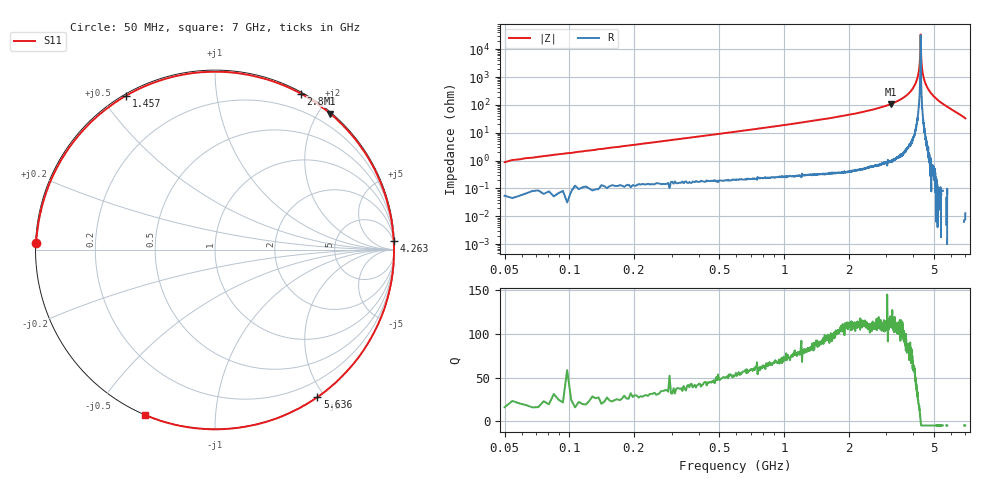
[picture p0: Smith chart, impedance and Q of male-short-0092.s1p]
! This is a Touchstone .s1p format file
! It should be saved with .s1p extension
! HEWLETT PACKARD,8720D,0,7.74
! Date = 21 Mar 2018
! Time = 01:14:02
! S11 measured = FALSE
! S21 measured = FALSE
! S12 measured = FALSE
! S22 measured = TRUE
! Start frequency = 0.050000000 GHz
! Centre frequency  = 3.524999936 GHz
! Stop frequency  = 7.000000000 GHz
! IF bandwidth = 300 Hz
! Smoothing = OFF
! Smoothing aperture = 1.000000 %
! Averaging = OFF
! Averaging factor = 16
! Source power = On
! Source power = Auto mode
! Output power level = 5.000000 dBm
! Retrace power = Off
! Testset switching = Continuous
! Number of sweeps for test set switching (0=hold, 1=continuous,2-999 = number of sweeps) = 1
! Step sweep = On (check)
! List frequency sweep = Off (check)
! IFBW setting for a list-frequency table in swept list mode = Disabled (Check)
! Power setting for a list-frequency table in swept list mode = Disabled (Check)
! Measurement mode = Chop A and B
! Port extensions = OFF
! Port extension 1 = 0.000000 ps
! Port extension 2 = 57.970000 ps
! Points  = 1601
! Calibration kit = 3.5 mm D
! Power = 5.000000 dBm
! Frequency magS22 angS22
! Magnitudes are in log form
! Angles are in degrees
# MHz S DB R 50
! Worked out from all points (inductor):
!   1601 points, 50 MHz to 7 GHz, reference 50 ohm
!   read as one part to ground: L = 2.97 nH near 84.75 MHz
!   highest Q = 116 at 3.147 GHz (marker M1), where L = 5.45 nH
!   self-resonance near 4.329 GHz
!   S11 on the Smith chart (normalised r, x): 50 MHz: 0.00, +0.02; 1.457 GHz: 0.01, +0.58; 2.873 GHz: 0.02, +1.69; 4.263 GHz: 2, +39; 5.636 GHz: -0.00, -1.91; 7 GHz: 0.00, -0.66
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50  -0.02 178.0
271.5312  -0.05 168.6
488.7188  -0.06 159.7
918.75  -0.08 142.0
1205.438  -0.07 130.3
1457.375  -0.09 119.9
1787.5  -0.08 106.2
2004.688  -0.08 97.3
2221.875  -0.08 88.3
2434.719  -0.08 79.5
2656.25  -0.08 70.2
2873.438  -0.07 61.2
3147.094  -0.06 49.7
3525  -0.05 34.0
3898.562  -0.04 18.3
4263.438  -0.03 2.9
4393.75  -0.02 -2.6
4606.594  -0.02 -11.6
4819.438  -0.01 -20.6
5045.312  -0.01 -30.2
5262.5  -0.00 -39.4
5636.062  0.00 -55.3
5905.375  0.00 -66.7
6131.25  0.01 -76.3
6352.781  0.01 -85.7
6552.594  0.01 -94.1
6756.75  0.01 -102.7
7000  -0.00 -113.0
